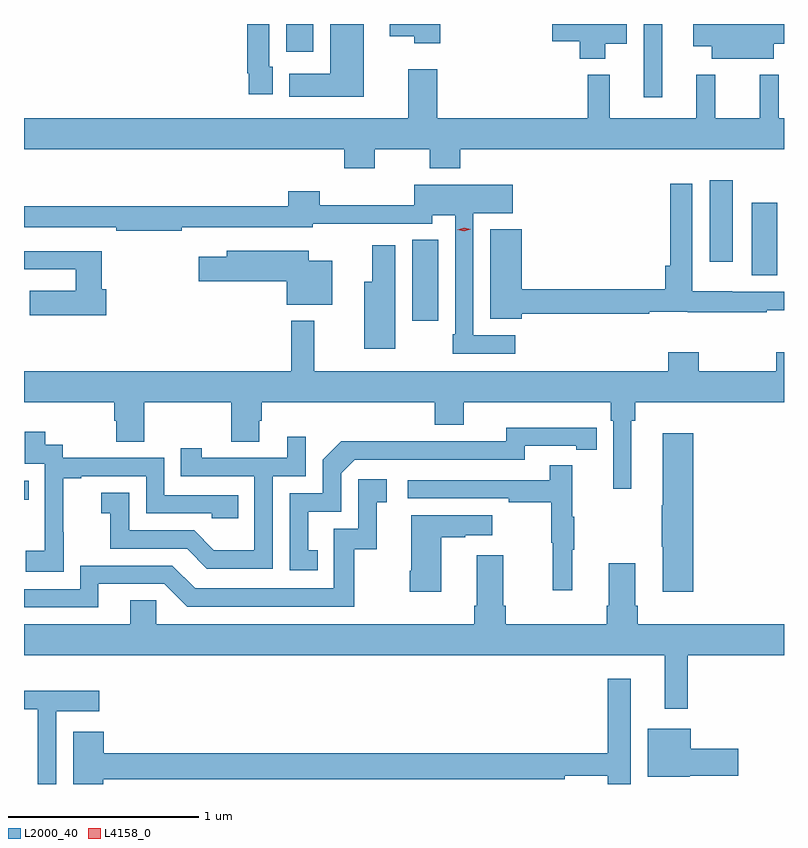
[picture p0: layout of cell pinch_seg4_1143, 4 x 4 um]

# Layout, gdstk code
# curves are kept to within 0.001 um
import gdstk
lib = gdstk.Library(unit=1e-6, precision=1e-09)
def R(c, l, rs):  # rectangles x0, y0, x1, y1
    for r in rs: c.add(gdstk.rectangle(r[:2], r[2:], *l))
def P(c, l, *ps):  # polygons
    for p in ps: c.add(gdstk.Polygon(p, *l))
L2000_40 = (2000, 40)
L4158_0 = (4158, 0)

pinch_seg4_1143 = lib.new_cell('pinch_seg4_1143')
R(pinch_seg4_1143, L2000_40, [(483.209,769.666,483.233,769.767), (485.252,770.61,485.389,771.035), (487.04,770.848,487.174,771.229), (486.818,770.919,486.94,771.349), (486.471,771.786,486.568,772.171), (484.589,772.026,484.732,772.171)])
P(pinch_seg4_1143, L2000_40, [(484.996,772.171),(484.82,772.171),(484.82,771.91),(484.604,771.91),(484.604,771.788),(484.996,771.788)],
  [(485.399,772.171),(485.135,772.171),(485.135,772.106),(485.264,772.106),(485.264,772.07),(485.399,772.07)],
  [(487.156,772.067),(487.209,772.067),(487.209,772.171),(486.731,772.171),(486.731,772.055),(486.83,772.055),(486.83,771.989),(487.156,771.989)],
  [(484.519,771.945),(484.5,771.945),(484.5,772.171),(484.384,772.171),(484.384,771.913),(484.392,771.913),(484.392,771.801),(484.519,771.801)],
  [(486.268,772.067),(486.382,772.067),(486.382,772.171),(485.988,772.171),(485.988,772.081),(486.134,772.081),(486.134,771.989),(486.268,771.989)],
  [(485.055,771.512),(485.344,771.512),(485.344,771.413),(485.504,771.413),(485.504,771.512),(487.209,771.512),(487.209,771.676),(487.181,771.676),(487.181,771.904),(487.081,771.904),(487.081,771.676),(486.846,771.676),(486.846,771.904),(486.746,771.904),(486.746,771.676),(486.293,771.676),(486.293,771.904),(486.175,771.904),(486.175,771.676),(485.384,771.676),(485.384,771.934),(485.231,771.934),(485.231,771.676),(483.209,771.676),(483.209,771.512),(484.895,771.512),(484.895,771.413),(485.055,771.413)],
  [(485.83,770.646),(486.5,770.646),(486.5,770.657),(486.702,770.657),(486.702,770.655),(487.118,770.655),(487.118,770.665),(487.209,770.665),(487.209,770.763),(486.936,770.763),(486.936,770.764),(486.726,770.764),(486.726,771.331),(486.61,771.331),(486.61,770.899),(486.584,770.899),(486.584,770.774),(485.83,770.774),(485.83,771.091),(485.663,771.091),(485.663,770.621),(485.83,770.621)],
  [(485.794,770.532),(485.574,770.532),(485.574,771.176),(485.782,771.176),(485.782,771.325),(485.262,771.325),(485.262,771.218),(484.766,771.218),(484.766,771.292),(484.601,771.292),(484.601,771.211),(483.209,771.211),(483.209,771.102),(483.694,771.102),(483.694,771.082),(484.04,771.082),(484.04,771.102),(484.728,771.102),(484.728,771.119),(484.946,771.119),(484.946,771.12),(485.358,771.12),(485.358,771.164),(485.478,771.164),(485.478,770.539),(485.466,770.539),(485.466,770.436),(485.794,770.436)],
  [(485.164,771.007),(485.042,771.007),(485.042,770.815),(485,770.815),(485,770.463),(485.164,770.463)],
  [(484.831,770.926),(484.708,770.926),(484.708,770.977),(484.277,770.977),(484.277,770.947),(484.128,770.947),(484.128,770.818),(484.592,770.818),(484.592,770.693),(484.831,770.693)],
  [(483.641,770.775),(483.617,770.775),(483.617,770.976),(483.209,770.976),(483.209,770.88),(483.481,770.88),(483.481,770.767),(483.24,770.767),(483.24,770.638),(483.641,770.638)],
  [(486.406,770.084),(486.425,770.084),(486.425,770.18),(487.209,770.18),(487.209,770.443),(487.168,770.443),(487.168,770.344),(486.759,770.344),(486.759,770.443),(486.599,770.443),(486.599,770.344),(484.736,770.344),(484.736,770.608),(484.615,770.608),(484.615,770.344),(483.209,770.344),(483.209,770.18),(483.683,770.18),(483.683,770.082),(483.695,770.082),(483.695,769.972),(483.843,769.972),(483.843,770.18),(484.3,770.18),(484.3,769.972),(484.447,769.972),(484.447,770.082),(484.46,770.082),(484.46,770.18),(485.372,770.18),(485.372,770.063),(485.524,770.063),(485.524,770.18),(486.296,770.18),(486.296,770.084),(486.309,770.084),(486.309,769.725),(486.406,769.725)],
  [(484.754,769.401),(484.705,769.401),(484.705,769.605),(484.878,769.605),(484.878,769.806),(484.95,769.878),(485.844,769.878),(485.844,769.95),(486.116,769.95),(486.116,769.93),(486.224,769.93),(486.224,770.046),(485.748,770.047),(485.748,769.974),(485.288,769.974),(485.288,769.976),(484.88,769.976),(484.782,769.878),(484.782,769.701),(484.608,769.701),(484.608,769.296),(484.754,769.296)],
  [(483.417,769.495),(483.416,769.495),(483.416,769.779),(483.511,769.779),(483.511,769.791),(483.852,769.791),(483.852,769.596),(484.197,769.596),(484.197,769.569),(484.337,769.569),(484.337,769.692),(483.948,769.692),(483.948,769.887),(483.414,769.887),(483.414,769.956),(483.322,769.956),(483.322,770.026),(483.213,770.026),(483.213,769.857),(483.318,769.857),(483.318,769.628),(483.317,769.628),(483.317,769.399),(483.219,769.399),(483.219,769.289),(483.417,769.289)],
  [(486.731,770.017),(486.572,770.017),(486.572,769.637),(486.565,769.637),(486.565,769.42),(486.572,769.42),(486.572,769.182),(486.731,769.182)],
  [(484.518,769.791),(484.692,769.791),(484.692,769.999),(484.595,769.999),(484.595,769.887),(484.144,769.887),(484.144,769.939),(484.033,769.939),(484.033,769.791),(484.422,769.791),(484.422,769.402),(484.208,769.402),(484.104,769.506),(483.762,769.506),(483.762,769.705),(483.615,769.705),(483.615,769.595),(483.664,769.595),(483.664,769.41),(484.067,769.41),(484.172,769.305),(484.518,769.305)],
  [(486.095,769.403),(486.106,769.403),(486.106,769.577),(486.095,769.577),(486.095,769.849),(485.977,769.849),(485.977,769.77),(485.229,769.77),(485.229,769.674),(485.761,769.674),(485.761,769.654),(485.985,769.654),(485.985,769.44),(485.992,769.44),(485.992,769.191),(486.095,769.191)],
  [(483.601,769.224),(483.948,769.224),(484.068,769.104),(484.948,769.104),(484.948,769.407),(485.066,769.407),(485.066,769.653),(485.119,769.653),(485.119,769.774),(484.968,769.774),(484.968,769.515),(484.839,769.515),(484.839,769.2),(484.11,769.2),(483.99,769.32),(483.504,769.32),(483.504,769.197),(483.209,769.197),(483.209,769.101),(483.601,769.101)],
  [(485.404,769.471),(485.531,769.471),(485.531,769.481),(485.674,769.481),(485.674,769.585),(485.246,769.585),(485.246,769.294),(485.239,769.294),(485.239,769.182),(485.404,769.182)],
  [(486.703,768.848),(487.209,768.848),(487.209,769.012),(486.44,769.012),(486.44,769.108),(486.427,769.108),(486.427,769.333),(486.287,769.333),(486.287,769.108),(486.275,769.108),(486.275,769.012),(485.744,769.012),(485.744,769.108),(485.731,769.108),(485.731,769.375),(485.591,769.375),(485.591,769.108),(485.579,769.108),(485.579,769.012),(483.906,769.012),(483.906,769.139),(483.767,769.139),(483.767,769.012),(483.209,769.012),(483.209,768.848),(486.581,768.848),(486.581,768.567),(486.703,768.567)],
  [(483.626,768.196),(486.056,768.196),(486.056,768.215),(486.282,768.215),(486.282,768.171),(486.403,768.171),(486.403,768.724),(486.282,768.724),(486.282,768.332),(483.628,768.332),(483.628,768.445),(483.467,768.445),(483.467,768.171),(483.626,768.171)],
  [(483.378,768.554),(483.604,768.554),(483.604,768.662),(483.209,768.662),(483.209,768.564),(483.282,768.564),(483.282,768.171),(483.378,768.171)],
  [(486.714,768.215),(486.967,768.215),(486.967,768.357),(486.718,768.357),(486.718,768.463),(486.491,768.463),(486.491,768.209),(486.714,768.209)])
P(pinch_seg4_1143, L4158_0, [(485.525,771.079),(485.49,771.087),(485.49,771.088),(485.49,771.088),(485.525,771.099),(485.56,771.09),(485.56,771.09),(485.56,771.09)])

lib.write_gds('pinch_seg4_1143.gds')
